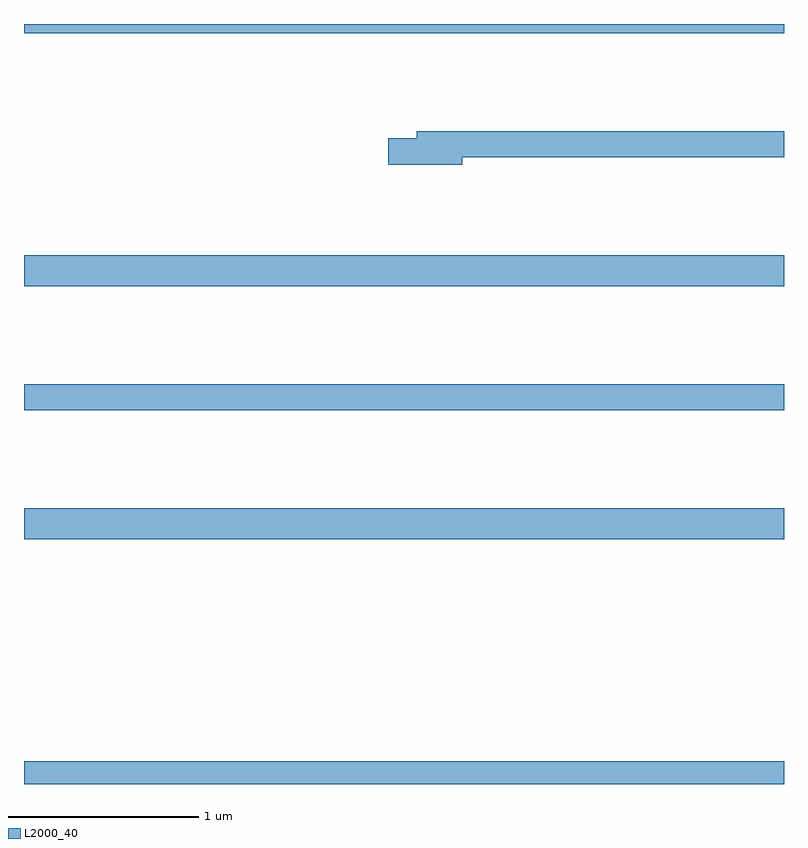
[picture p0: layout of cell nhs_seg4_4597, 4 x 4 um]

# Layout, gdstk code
import gdstk
lib = gdstk.Library(unit=1e-6, precision=1e-09)
def R(c, l, rs):  # rectangles x0, y0, x1, y1
    for r in rs: c.add(gdstk.rectangle(r[:2], r[2:], *l))
def P(c, l, *ps):  # polygons
    for p in ps: c.add(gdstk.Polygon(p, *l))
L2000_40 = (2000, 40)

nhs_seg4_4597 = lib.new_cell('nhs_seg4_4597')
R(nhs_seg4_4597, L2000_40, [(359,760.9,363,761.02), (359,762.188,363,762.352), (359,762.868,363,763.004), (359,763.52,363,763.684), (359,764.852,363,764.9)])
P(nhs_seg4_4597, L2000_40, [(361.306,764.2),(363,764.2),(363,764.336),(361.067,764.336),(361.067,764.3),(360.918,764.3),(360.918,764.158),(361.306,764.158)])

lib.write_gds('nhs_seg4_4597.gds')
